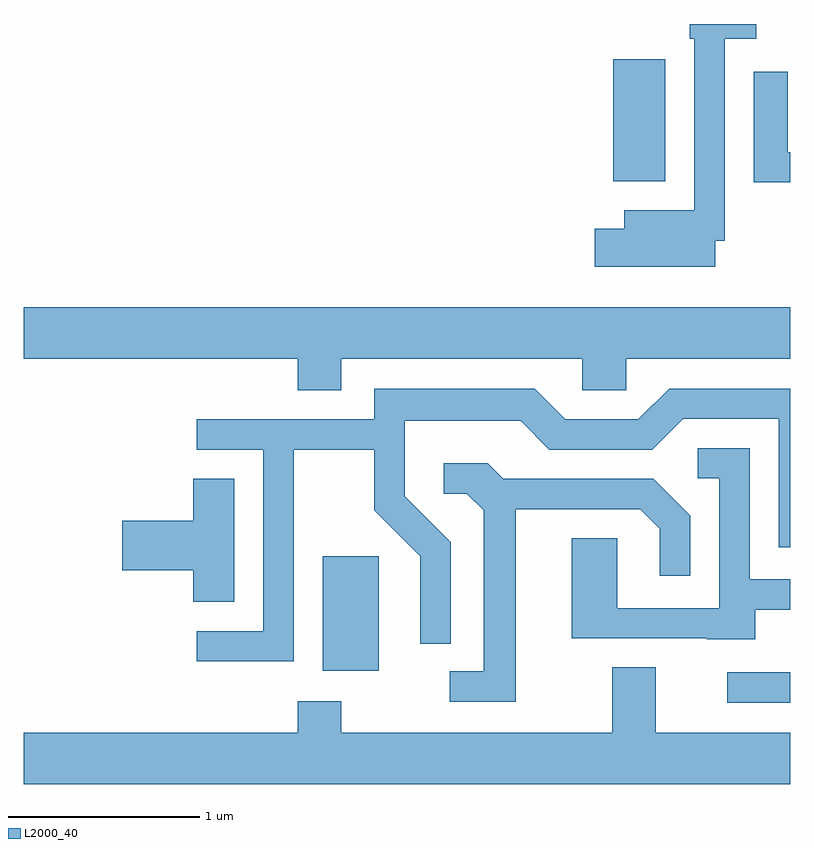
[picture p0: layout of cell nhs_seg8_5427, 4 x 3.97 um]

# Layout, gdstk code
import gdstk
lib = gdstk.Library(unit=1e-6, precision=1e-09)
def R(c, l, rs):  # rectangles x0, y0, x1, y1
    for r in rs: c.add(gdstk.rectangle(r[:2], r[2:], *l))
def P(c, l, *ps):  # polygons
    for p in ps: c.add(gdstk.Polygon(p, *l))
L2000_40 = (2000, 40)

nhs_seg8_5427 = lib.new_cell('nhs_seg8_5427')
R(nhs_seg8_5427, L2000_40, [(351.283,1876.801,351.611,1876.959), (349.171,1876.966,349.464,1877.564), (350.686,1879.521,350.959,1880.159)])
P(nhs_seg8_5427, L2000_40, [(351.219,1879.211),(351.269,1879.211),(351.269,1880.266),(351.434,1880.266),(351.434,1880.342),(351.086,1880.342),(351.086,1880.266),(351.111,1880.266),(351.111,1879.369),(350.746,1879.369),(350.746,1879.274),(350.591,1879.274),(350.591,1879.076),(351.219,1879.076)],
  [(351.611,1879.674),(351.599,1879.674),(351.599,1880.094),(351.421,1880.094),(351.421,1879.516),(351.611,1879.516)],
  [(349.269,1878.596),(350.526,1878.596),(350.526,1878.431),(350.754,1878.431),(350.754,1878.596),(351.611,1878.596),(351.611,1878.864),(347.611,1878.864),(347.611,1878.596),(349.041,1878.596),(349.041,1878.431),(349.269,1878.431)],
  [(349.019,1878.121),(349.441,1878.121),(349.441,1877.804),(349.681,1877.564),(349.681,1877.108),(349.839,1877.108),(349.839,1877.637),(349.599,1877.877),(349.599,1878.271),(350.204,1878.271),(350.354,1878.121),(350.892,1878.121),(351.052,1878.281),(351.551,1878.281),(351.551,1877.611),(351.611,1877.611),(351.611,1878.439),(350.979,1878.439),(350.819,1878.279),(350.437,1878.279),(350.277,1878.439),(349.441,1878.439),(349.441,1878.279),(348.513,1878.279),(348.513,1878.121),(348.861,1878.121),(348.861,1877.174),(348.513,1877.174),(348.513,1877.016),(349.019,1877.016)],
  [(351.429,1877.286),(351.611,1877.286),(351.611,1877.444),(351.399,1877.444),(351.399,1878.129),(351.128,1878.129),(351.128,1877.971),(351.241,1877.971),(351.241,1877.294),(350.709,1877.294),(350.709,1877.659),(350.471,1877.659),(350.471,1877.136),(351.175,1877.136),(351.175,1877.131),(351.429,1877.131)],
  [(350.179,1877.811),(350.829,1877.811),(350.931,1877.709),(350.931,1877.463),(351.089,1877.463),(351.089,1877.777),(350.897,1877.969),(350.112,1877.969),(350.032,1878.049),(349.803,1878.049),(349.803,1877.891),(349.924,1877.891),(350.011,1877.804),(350.011,1876.964),(349.833,1876.964),(349.833,1876.806),(350.179,1876.806)],
  [(348.709,1877.969),(348.496,1877.969),(348.496,1877.749),(348.126,1877.749),(348.126,1877.491),(348.496,1877.491),(348.496,1877.326),(348.709,1877.326)],
  [(351.611,1876.644),(350.909,1876.644),(350.909,1876.984),(350.681,1876.984),(350.681,1876.644),(349.269,1876.644),(349.269,1876.809),(349.041,1876.809),(349.041,1876.644),(347.611,1876.644),(347.611,1876.376),(351.611,1876.376)])

lib.write_gds('nhs_seg8_5427.gds')
